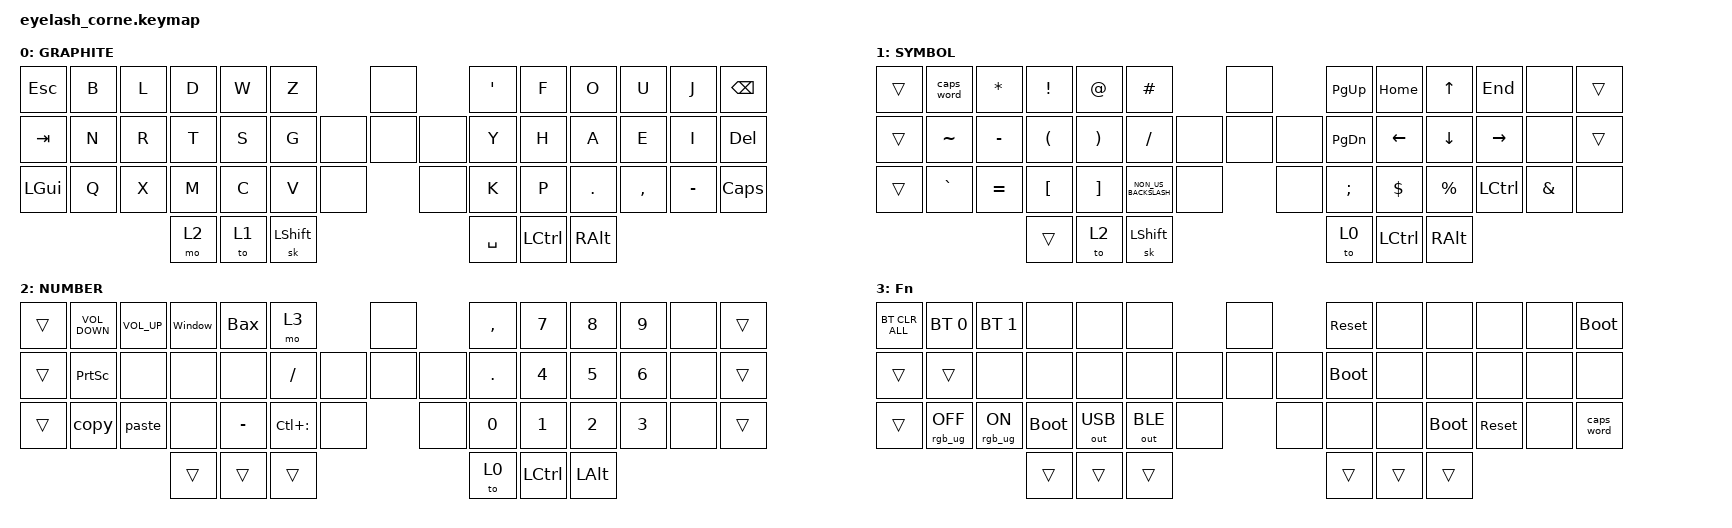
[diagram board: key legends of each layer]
#define ZMK_POINTING_DEFAULT_MOVE_VAL 1200  // 600
#define ZMK_POINTING_DEFAULT_SCRL_VAL 25   // 10

#include <input/processors.dtsi>
#include <zephyr/dt-bindings/input/input-event-codes.h>
#include <behaviors.dtsi>
#include <dt-bindings/zmk/bt.h>
#include <dt-bindings/zmk/keys.h>
#include <dt-bindings/zmk/outputs.h>
#include <dt-bindings/zmk/pointing.h>
#include <dt-bindings/zmk/rgb.h>

&mmv_input_listener { input-processors = <&zip_xy_scaler 2 1>; };

&msc_input_listener { input-processors = <&zip_scroll_scaler 2 1>; };

&msc {
    acceleration-exponent = <1>;      // 0
    time-to-max-speed-ms = <100>;       // 300
    delay-ms = <0>;                   // 0
};

&mmv {
    time-to-max-speed-ms = <500>;
    acceleration-exponent = <1>;
    trigger-period-ms = <16>;
};

/ {
    behaviors {
        td0: td0 {
            compatible = "zmk,behavior-tap-dance";
            display-name = "Shift/Caps Lock Tap Dance";
            #binding-cells = <0>;
            bindings = <&kp LEFT_SHIFT>, <&kp CAPS>;
        };
    };

    rgb_encoder: rgb_encoder {
        compatible = "zmk,behavior-sensor-rotate";
        #sensor-binding-cells = <0>;
        bindings = <&rgb_ug RGB_BRI>, <&rgb_ug RGB_BRD>;
    };

    scroll_encoder: scroll_encoder {
        compatible = "zmk,behavior-sensor-rotate";
        #sensor-binding-cells = <0>;
        bindings = <&msc SCRL_DOWN>, <&msc SCRL_UP>;

        tap-ms = <100>;
    };

    combos {
        compatible = "zmk,combos";

        enter {
            bindings = <&kp ENTER>;
            key-positions = <44 45>;
            layers = <0>;
        };

        OH_enter {
            bindings = <&kp ENTER>;
            key-positions = <45 46>;
            layers = <0>;
        };

        minus {
            bindings = <&kp MINUS>;
            key-positions = <4 8>;
            layers = <0>;
        };

        backspace {
            bindings = <&kp BACKSPACE>;
            key-positions = <32 37>;
            layers = <0>;
        };

        f1 {
            bindings = <&kp F1>;
            key-positions = <44 37>;
            layers = <2>;
        };

        f2 {
            bindings = <&kp F2>;
            key-positions = <44 38>;
            layers = <2>;
        };

        f3 {
            bindings = <&kp F3>;
            key-positions = <44 39>;
            layers = <2>;
        };

        f4 {
            bindings = <&kp F4>;
            key-positions = <44 23>;
            layers = <2>;
        };

        f5 {
            bindings = <&kp F5>;
            key-positions = <44 24>;
            layers = <2>;
        };

        f6 {
            bindings = <&kp F6>;
            key-positions = <44 25>;
            layers = <2>;
        };

        f7 {
            bindings = <&kp F7>;
            key-positions = <44 8>;
            layers = <2>;
        };

        f8 {
            bindings = <&kp F8>;
            key-positions = <44 9>;
            layers = <2>;
        };

        f9 {
            bindings = <&kp F9>;
            key-positions = <44 10>;
            layers = <2>;
        };

        f10 {
            bindings = <&kp F10>;
            key-positions = <44 36>;
            layers = <2>;
        };

        f11 {
            bindings = <&kp F11>;
            key-positions = <44 22>;
            layers = <2>;
        };

        f12 {
            bindings = <&kp F12>;
            key-positions = <44 7>;
            layers = <2>;
        };
    };

    macros {
        copy: copy {
            compatible = "zmk,behavior-macro";
            #binding-cells = <0>;
            bindings = <&kp LC(C)>;
            label = "COPY";
        };

        paste: paste {
            compatible = "zmk,behavior-macro";
            #binding-cells = <0>;
            bindings = <&kp LC(V)>;
            label = "PASTE";
        };

        Window: Window {
            compatible = "zmk,behavior-macro";
            #binding-cells = <0>;
            bindings = <&kp LS(C) &kp A &kp N &kp A &kp D &kp A &kp EXCL &kp N2 &kp N0 &kp N2 &kp N0 &kp N2 &kp N0>;
            label = "WINDOW";
        };

        Bax: Bax {
            compatible = "zmk,behavior-macro";
            #binding-cells = <0>;
            bindings = <&none &kp LS(M) &kp A &kp R &kp G &kp H &kp E &kp R &kp I &kp T &kp A &kp N2 &kp N0 &kp N2 &kp N5 &kp MINUS>;
            label = "BAX";
        };
    };

    keymap {
        compatible = "zmk,keymap";

        default_layer {
            display-name = "GRAPHITE";
            bindings = <
&kp ESCAPE    &kp B  &kp L  &kp D  &kp W  &kp Z                           &none         &kp SQT    &kp F      &kp O       &kp U      &kp J      &kp BSPC
&kp TAB       &kp N  &kp R  &kp T  &kp S  &kp G                    &none  &none  &none  &kp Y      &kp H      &kp A       &kp E      &kp I      &kp DELETE
&kp LEFT_GUI  &kp Q  &kp X  &kp M  &kp C  &kp V           &none           &none         &kp K      &kp P      &kp PERIOD  &kp COMMA  &kp MINUS  &kp CAPS
                            &mo 2  &to 1  &sk LEFT_SHIFT                                &kp SPACE  &kp LCTRL  &kp RALT
            >;
        };

        Symbols {
            display-name = "SYMBOL";
            bindings = <
&trans  &caps_word  &kp ASTERISK  &kp EXCLAMATION       &kp AT_SIGN            &kp HASH                              &none         &kp PAGE_UP    &kp HOME        &kp UP_ARROW    &kp END    &none          &trans
&trans  &kp TILDE   &kp MINUS     &kp LEFT_PARENTHESIS  &kp RIGHT_PARENTHESIS  &kp SLASH                      &none  &none  &none  &kp PAGE_DOWN  &kp LEFT_ARROW  &kp DOWN_ARROW  &kp RIGHT  &none          &trans
&trans  &kp GRAVE   &kp EQUAL     &kp LEFT_BRACKET      &kp RIGHT_BRACKET      &kp NON_US_BACKSLASH  &none           &none         &kp SEMICOLON  &kp DOLLAR      &kp PERCENT     &kp LCTRL  &kp AMPERSAND  &none
                                  &trans                &to 2                  &sk LEFT_SHIFT                                      &to 0          &kp LCTRL       &kp RIGHT_ALT
            >;
        };

        Numbers {
            display-name = "NUMBER";
            bindings = <
&trans  &kp C_VOLUME_DOWN  &kp C_VOLUME_UP  &Window  &Bax       &mo 3                          &none         &kp COMMA   &kp N7        &kp N8        &kp N9        &none  &trans
&trans  &kp PRINTSCREEN    &none            &none    &none      &kp SLASH               &none  &none  &none  &kp PERIOD  &kp NUMBER_4  &kp N5        &kp NUMBER_6  &none  &trans
&trans  &copy              &paste           &none    &kp MINUS  &kp LC(COLON)  &none           &none         &kp N0      &kp NUMBER_1  &kp NUMBER_2  &kp NUMBER_3  &none  &trans
                                            &trans   &trans     &trans                                       &to 0       &kp LCTRL     &kp LEFT_ALT
            >;
        };

        Fn {
            display-name = "Fn";
            bindings = <
&bt BT_CLR_ALL  &bt BT_SEL 0     &bt BT_SEL 1    &none        &none         &none                         &none         &sys_reset   &none   &none        &none       &none  &bootloader
&trans          &trans           &none           &none        &none         &none                  &none  &none  &none  &bootloader  &none   &none        &none       &none  &none
&trans          &rgb_ug RGB_OFF  &rgb_ug RGB_ON  &bootloader  &out OUT_USB  &out OUT_BLE  &none           &none         &none        &none   &bootloader  &sys_reset  &none  &caps_word
                                                 &trans       &trans        &trans                                      &trans       &trans  &trans
            >;
        };
    };
};
